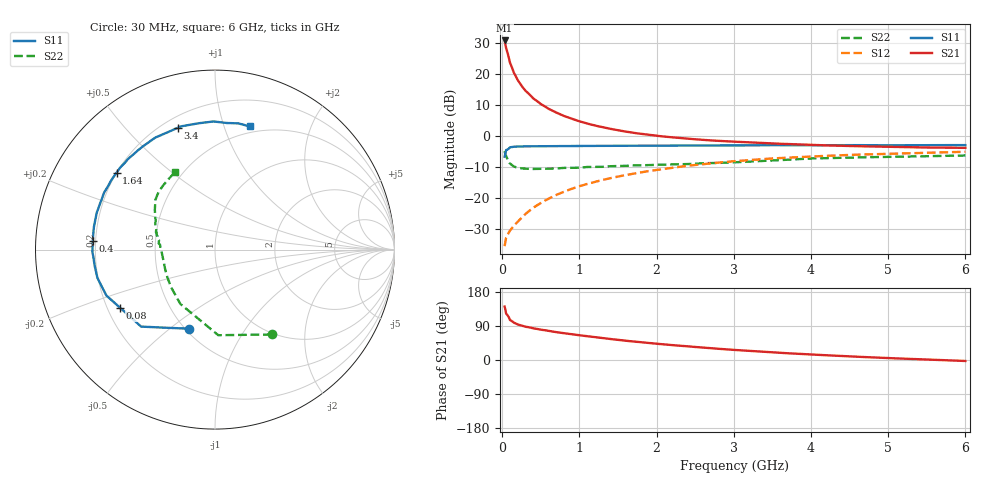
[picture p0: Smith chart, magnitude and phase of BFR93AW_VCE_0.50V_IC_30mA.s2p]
! Infineon Technologies  Discrete & RF Semiconductors
! BFR93AW
! VCE = 0.50 V,  IC =  30 mA
! Common Emitter S-Parameters:  Nov 2015
# GHz  S  MA  R  50
!  f  S11  S21  S12  S22
! GHz  MAG  ANG  MAG  ANG  MAG  ANG  MAG  ANG
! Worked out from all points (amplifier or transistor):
!   206 points, 30 MHz to 6 GHz, reference 50 ohm
!   highest |S21| = 30.9 dB at 30 MHz (marker M1)
!   |S21| within 3 dB of that: start of sweep to 56.28 MHz
!   unconditionally stable (mu >= 1): 211 MHz to end of sweep
!   at 200 MHz: K = 0.98, MSG = 22.9 dB, |S12| = -27.7 dB
!   at 1.56 GHz: K = 1.19, MAG = 4.6 dB, |S12| = -12.8 dB
!   at 6 GHz: K = 1.05, MAG = -0.7 dB, |S12| = -5.1 dB
!   S11 on the Smith chart (normalised r, x): 30 MHz: 0.52, -0.59; 80 MHz: 0.25, -0.27; 400 MHz: 0.19, +0.03; 1.64 GHz: 0.20, +0.33; 3.4 GHz: 0.26, +0.71; 6 GHz: 0.44, +1.22
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0.03  0.4634 -108.0  35.24 141.0  0.0165 57.3  0.5688 -56.2
0.05  0.5945 -133.8  26.42 122.2  0.0227 48.5  0.4774 -87.8
0.08  0.6198 -148.4  19.55 114.4  0.0268 48.0  0.388 -106.2
0.1  0.6571 -157.1  15.32 105.4  0.0295 47.7  0.3591 -122.5
0.15  0.6739 -166.5  10.54 98.4  0.0351 51.8  0.3219 -139.6
0.2  0.6764 -172.2  8.048 93.8  0.0411 55.6  0.3072 -149.7
0.24  0.6776 -175.4  6.773 91.4  0.0462 58.1  0.3012 -155.3
0.26  0.6791 -176.7  6.247 90.1  0.0489 59.2  0.2992 -157.6
0.3  0.6832 -178.9  5.414 87.9  0.0546 61.3  0.2963 -161.1
0.4  0.6827 176.0  4.08 83.7  0.0687 64.4  0.2932 -168.3
0.5  0.6842 172.3  3.29 80.0  0.0825 65.5  0.2947 -173.0
0.6  0.6864 169.3  2.762 76.9  0.0968 66.2  0.296 -176.2
0.8  0.6902 162.9  2.111 70.7  0.1257 65.7  0.3051 178.8
1.04  0.6905 156.4  1.674 64.3  0.1596 64.2  0.3106 174.5
1.3  0.6926 150.0  1.389 57.6  0.1949 61.4  0.3161 170.5
1.64  0.6963 142.0  1.158 50.0  0.2387 57.7  0.3313 166.5
2.02  0.6995 133.6  1.002 42.6  0.2851 53.1  0.3432 163.3
3.1  0.7048 112.3  0.801 25.4  0.3991 39.5  0.3802 151.1
3.4  0.7095 107.1  0.769 21.4  0.4251 35.8  0.3963 147.6
4.1  0.7098 96.1  0.713 13.4  0.4729 27.1  0.4361 138.8
5.1  0.7093 83.7  0.665 4.3  0.5199 16.7  0.4617 127.7
6  0.713 74.3  0.644 -2.6  0.5566 8.5  0.4848 117.3
